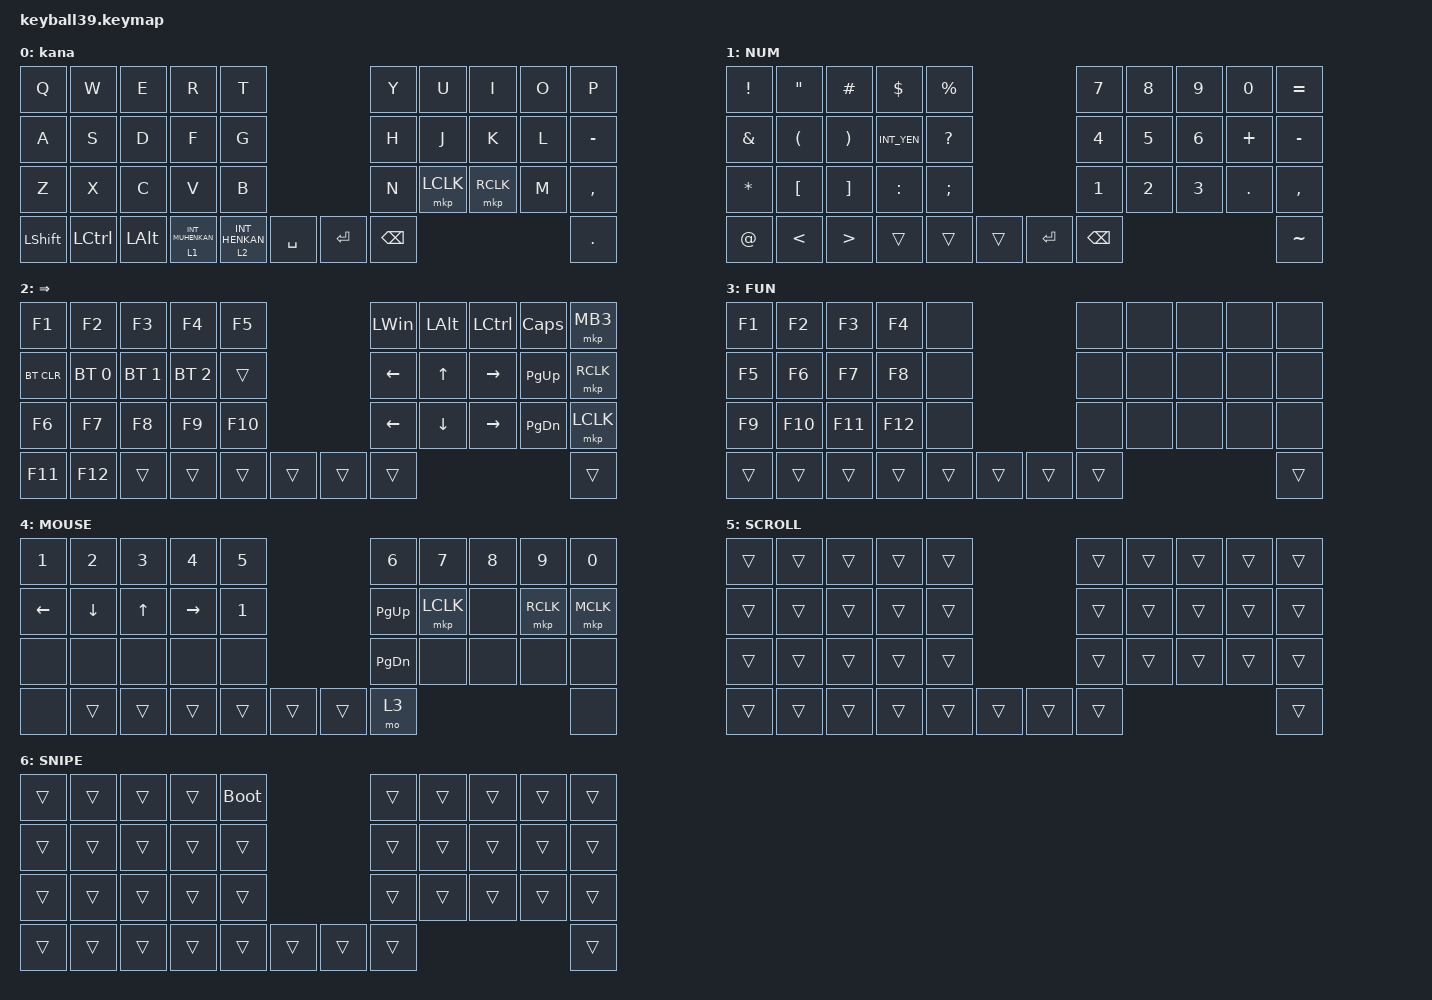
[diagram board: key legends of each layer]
#define DEFAULT 0
#define NUM     1
#define SYM     2
#define FUN     3
#define MOUSE   4
#define SCROLL  5
#define SNIPE   6

#include <behaviors/mouse_keys.dtsi>
#include <dt-bindings/zmk/mouse.h>
#include <dt-bindings/zmk/mouse.h>
#include <dt-bindings/zmk/mouse.h>
#include <dt-bindings/zmk/mouse.h>
#include <dt-bindings/zmk/mouse.h>
#include <dt-bindings/zmk/mouse.h>
#include <dt-bindings/zmk/mouse.h>
#include <behaviors.dtsi>
#include <dt-bindings/zmk/bt.h>
#include <dt-bindings/zmk/keys.h>
#include <dt-bindings/zmk/mouse.h>

&lt {
    tapping-term-ms = <240>;
    flavor = "balanced";
    quick-tap-ms = <150>;
};

&mt {
    tapping-term-ms = <200>;
    flavor = "tap-preferred";
    quick-tap-ms = <150>;
};

&caps_word { continue-list = <UNDERSCORE MINUS>; };

/ {
    // custom shift using mod-morph 

    behaviors {
        cmqus: comma_question {
            compatible = "zmk,behavior-mod-morph";
            label = "COMMA_QUESTION";
            #binding-cells = <0>;
            bindings = <&kp COMMA>, <&kp QUESTION>;

            mods = <(MOD_LSFT|MOD_RSFT)>;
        };

        dtsmi: dot_semi {
            compatible = "zmk,behavior-mod-morph";
            label = "DOT_SEMI";
            #binding-cells = <0>;
            bindings = <&kp DOT>, <&kp SEMI>;

            mods = <(MOD_LSFT|MOD_RSFT)>;
        };
    };

    macros {
        Hiragana: Hiragana {
            compatible = "zmk,behavior-macro";
            #binding-cells = <0>;
            bindings = <&kp LC(SPACE)>;
            label = "HIRAGANA";
        };
    };

    keymap {
        compatible = "zmk,keymap";

        default_layer {
            label = "kana";
            bindings = <
&kp Q           &kp W             &kp E         &kp R               &kp T                                   &kp Y          &kp U      &kp I      &kp O  &kp P
&kp A           &kp S             &kp D         &kp F               &kp G                                   &kp H          &kp J      &kp K      &kp L  &kp MINUS
&kp Z           &kp X             &kp C         &kp V               &kp B                                   &kp N          &mkp LCLK  &mkp RCLK  &kp M  &kp COMMA
&kp LEFT_SHIFT  &kp LEFT_CONTROL  &kp LEFT_ALT  &lt 1 INT_MUHENKAN  &lt 2 INT_HENKAN  &kp SPACE  &kp ENTER  &kp BACKSPACE                               &kp PERIOD
            >;
        };

        number_layer {
            label = "NUM";
            bindings = <
&kp EXCLAMATION  &kp DOUBLE_QUOTES     &kp HASH               &kp DOLLAR   &kp PERCENT                       &kp N7         &kp N8        &kp N9        &kp N0      &kp EQUAL
&kp AMPERSAND    &kp LEFT_PARENTHESIS  &kp RIGHT_PARENTHESIS  &kp INT_YEN  &kp QUESTION                      &kp NUMBER_4   &kp N5        &kp NUMBER_6  &kp PLUS    &kp MINUS
&kp ASTERISK     &kp LEFT_BRACKET      &kp RIGHT_BRACKET      &kp COLON    &kp SEMICOLON                     &kp NUMBER_1   &kp NUMBER_2  &kp NUMBER_3  &kp PERIOD  &kp COMMA
&kp AT_SIGN      &kp LESS_THAN         &kp GREATER_THAN       &trans       &trans         &trans  &kp ENTER  &kp BACKSPACE                                          &kp TILDE
            >;
        };

        symbol_layer {
            label = "⇒";
            bindings = <
&kp F1      &kp F2        &kp F3        &kp F4        &kp F5                   &kp LEFT_WIN    &kp LEFT_ALT    &kp LEFT_CONTROL  &kp CAPS       &mkp MB3
&bt BT_CLR  &bt BT_SEL 0  &bt BT_SEL 1  &bt BT_SEL 2  &trans                   &kp LEFT_ARROW  &kp UP_ARROW    &kp RIGHT_ARROW   &kp PAGE_UP    &mkp RCLK
&kp F6      &kp F7        &kp F8        &kp F9        &kp F10                  &kp LEFT_ARROW  &kp DOWN_ARROW  &kp RIGHT_ARROW   &kp PAGE_DOWN  &mkp LCLK
&kp F11     &kp F12       &trans        &trans        &trans   &trans  &trans  &trans                                                           &trans
            >;
        };

        function_layer {
            label = "FUN";
            bindings = <
&kp F1  &kp F2   &kp F3   &kp F4   &none                   &none   &none  &none  &none  &none
&kp F5  &kp F6   &kp F7   &kp F8   &none                   &none   &none  &none  &none  &none
&kp F9  &kp F10  &kp F11  &kp F12  &none                   &none   &none  &none  &none  &none
&trans  &trans   &trans   &trans   &trans  &trans  &trans  &trans                       &trans
            >;
        };

        mouse_layer {
            label = "MOUSE";
            bindings = <
&kp NUMBER_1    &kp N2          &kp N3        &kp N4     &kp N5                        &kp N6         &kp N7     &kp N8  &kp N9     &kp N0
&kp LEFT_ARROW  &kp DOWN_ARROW  &kp UP_ARROW  &kp RIGHT  &kp NUMBER_1                  &kp PAGE_UP    &mkp LCLK  &none   &mkp RCLK  &mkp MCLK
&none           &none           &none         &none      &none                         &kp PAGE_DOWN  &none      &none   &none      &none
&none           &trans          &trans        &trans     &trans        &trans  &trans  &mo 3                                        &none
            >;
        };

        scroll_layer {
            label = "SCROLL";
            bindings = <
&trans  &trans  &trans  &trans  &trans                  &trans  &trans  &trans  &trans  &trans
&trans  &trans  &trans  &trans  &trans                  &trans  &trans  &trans  &trans  &trans
&trans  &trans  &trans  &trans  &trans                  &trans  &trans  &trans  &trans  &trans
&trans  &trans  &trans  &trans  &trans  &trans  &trans  &trans                          &trans
            >;
        };

        snipe_layer {
            label = "SNIPE";
            bindings = <
&trans  &trans  &trans  &trans  &bootloader                  &trans  &trans  &trans  &trans  &trans
&trans  &trans  &trans  &trans  &trans                       &trans  &trans  &trans  &trans  &trans
&trans  &trans  &trans  &trans  &trans                       &trans  &trans  &trans  &trans  &trans
&trans  &trans  &trans  &trans  &trans       &trans  &trans  &trans                          &trans
            >;
        };
    };
};
